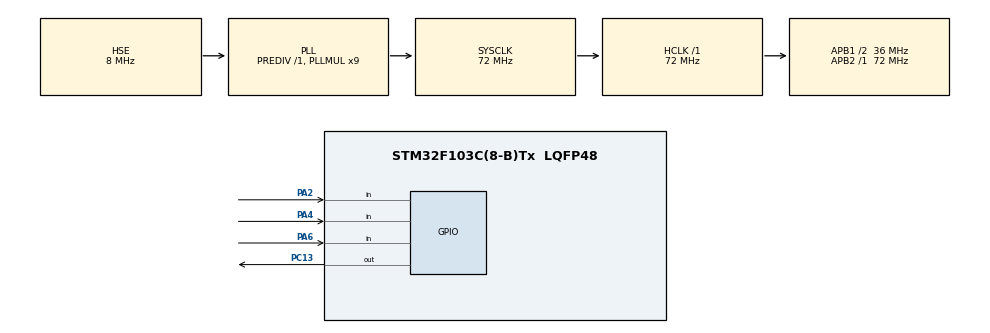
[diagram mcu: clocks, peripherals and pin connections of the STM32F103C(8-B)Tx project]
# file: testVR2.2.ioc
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Mcu.Family=STM32F1
Mcu.Name=STM32F103C(8-B)Tx
Mcu.Package=LQFP48
NVIC.PriorityGroup=NVIC_PRIORITYGROUP_4
NVIC.TIM2_IRQn=true\:5\:0\:true\:false\:true\:true\:true\:true
NVIC.TIM3_IRQn=true\:5\:0\:true\:false\:true\:true\:true\:true
NVIC.TIM4_IRQn=true\:5\:0\:true\:false\:true\:true\:true\:true
PA13.Mode=Serial_Wire
PA13.Signal=SYS_JTMS-SWDIO
PA14.Mode=Serial_Wire
PA14.Signal=SYS_JTCK-SWCLK
PA2.GPIO_PuPd=GPIO_PULLUP
PA2.Signal=GPIO_Input
PA4.GPIO_PuPd=GPIO_PULLUP
PA4.Signal=GPIO_Input
PA6.GPIO_PuPd=GPIO_PULLUP
PA6.Signal=GPIO_Input
PC13-TAMPER-RTC.GPIO_ModeDefaultOutputPP=GPIO_MODE_OUTPUT_OD
PC13-TAMPER-RTC.GPIO_PuPd=GPIO_PULLUP
PC13-TAMPER-RTC.Signal=GPIO_Output
PD0-OSC_IN.Mode=HSE-External-Oscillator
PD0-OSC_IN.Signal=RCC_OSC_IN
PD1-OSC_OUT.Mode=HSE-External-Oscillator
PD1-OSC_OUT.Signal=RCC_OSC_OUT
ProjectManager.HeapSize=0x200
ProjectManager.StackSize=0x400
ProjectManager.TargetToolchain=MDK-ARM V5.32
RCC.AHBFreq_Value=72000000
RCC.APB1CLKDivider=RCC_HCLK_DIV2
RCC.APB1Freq_Value=36000000
RCC.APB1TimFreq_Value=72000000
RCC.APB2Freq_Value=72000000
RCC.APB2TimFreq_Value=72000000
RCC.HCLKFreq_Value=72000000
RCC.PLLMUL=RCC_PLL_MUL9
RCC.PLLSourceVirtual=RCC_PLLSOURCE_HSE
RCC.SYSCLKFreq_VALUE=72000000
RCC.SYSCLKSource=RCC_SYSCLKSOURCE_PLLCLK
RCC.USBFreq_Value=72000000
TIM2.Period=9999
TIM2.Prescaler=7199
TIM3.Period=35999
TIM3.Prescaler=3999
TIM4.Period=7999
TIM4.Prescaler=35999
VP_TIM2_VS_ClockSourceINT.Mode=Internal
VP_TIM3_VS_ClockSourceINT.Mode=Internal
VP_TIM4_VS_ClockSourceINT.Mode=Internal
board=custom

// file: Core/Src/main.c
/* USER CODE BEGIN Header */
/**
  ******************************************************************************
  * @file           : main.c
  * @brief          : Main program body
  ******************************************************************************
  * @attention
  *
  * Copyright (c) 2025 STMicroelectronics.
  * All rights reserved.
  *
  * This software is licensed under terms that can be found in the LICENSE file
  * in the root directory of this software component.
  * If no LICENSE file comes with this software, it is provided AS-IS.
  *
  ******************************************************************************
  */
/* USER CODE END Header */
#include "main.h"

TIM_HandleTypeDef htim2;
TIM_HandleTypeDef htim3;
TIM_HandleTypeDef htim4;

/* USER CODE BEGIN PV */
int now=0;
/* USER CODE END PV */

void SystemClock_Config(void);
static void MX_GPIO_Init(void);
static void MX_TIM2_Init(void);
static void MX_TIM3_Init(void);
static void MX_TIM4_Init(void);

int main(void)
{

  /* MCU Configuration--------------------------------------------------------*/

  /* Reset of all peripherals, Initializes the Flash interface and the Systick. */
  HAL_Init();

  /* Configure the system clock */
  SystemClock_Config();

  /* Initialize all configured peripherals */
  MX_GPIO_Init();
  MX_TIM2_Init();
  MX_TIM3_Init();
  MX_TIM4_Init();

  /* Infinite loop */
  /* USER CODE BEGIN WHILE */
  while (1)
  {

			if(!HAL_GPIO_ReadPin(GPIOA,GPIO_PIN_2))
	    {
				HAL_Delay(20);
				if(!HAL_GPIO_ReadPin(GPIOA,GPIO_PIN_2))
				{
				now=2;
				}
				HAL_Delay(20);
			}
			if(!HAL_GPIO_ReadPin(GPIOA,GPIO_PIN_4))
	    {
				HAL_Delay(20);
				if(!HAL_GPIO_ReadPin(GPIOA,GPIO_PIN_4))
				{
				now=3;
				}
				HAL_Delay(20);
			}
			if(!HAL_GPIO_ReadPin(GPIOA,GPIO_PIN_6))
	    {
				HAL_Delay(20);
				if(!HAL_GPIO_ReadPin(GPIOA,GPIO_PIN_6))
				{
				now=4;
				}
				HAL_Delay(20);
			}
			if(now==2)
	    {
			HAL_GPIO_WritePin(GPIOC,GPIO_PIN_13,GPIO_PIN_RESET);
			HAL_Delay(100);
			HAL_GPIO_WritePin(GPIOC,GPIO_PIN_13,GPIO_PIN_SET);
			HAL_Delay(100);
			HAL_GPIO_WritePin(GPIOC,GPIO_PIN_13,GPIO_PIN_RESET);
			HAL_Delay(100);
			HAL_GPIO_WritePin(GPIOC,GPIO_PIN_13,GPIO_PIN_SET);
				__HAL_TIM_CLEAR_FLAG(&htim3, TIM_FLAG_UPDATE);
				__HAL_TIM_CLEAR_FLAG(&htim4, TIM_FLAG_UPDATE);
				HAL_TIM_Base_Stop_IT(&htim3);
				HAL_TIM_Base_Stop_IT(&htim4);
				HAL_TIM_Base_Start_IT(&htim2);
				now=1;
			}
			if(now==3)
	    {
			HAL_GPIO_WritePin(GPIOC,GPIO_PIN_13,GPIO_PIN_RESET);
			HAL_Delay(100);
			HAL_GPIO_WritePin(GPIOC,GPIO_PIN_13,GPIO_PIN_SET);
			HAL_Delay(100);
			HAL_GPIO_WritePin(GPIOC,GPIO_PIN_13,GPIO_PIN_RESET);
			HAL_Delay(100);
			HAL_GPIO_WritePin(GPIOC,GPIO_PIN_13,GPIO_PIN_SET);
				__HAL_TIM_CLEAR_FLAG(&htim2, TIM_FLAG_UPDATE);
				__HAL_TIM_CLEAR_FLAG(&htim4, TIM_FLAG_UPDATE);
				HAL_TIM_Base_Stop_IT(&htim2);
				HAL_TIM_Base_Stop_IT(&htim4);
				HAL_TIM_Base_Start_IT(&htim3);
				now=1;
			}
			if(now==4)
	    {
			HAL_GPIO_WritePin(GPIOC,GPIO_PIN_13,GPIO_PIN_RESET);
			HAL_Delay(100);
			HAL_GPIO_WritePin(GPIOC,GPIO_PIN_13,GPIO_PIN_SET);
			HAL_Delay(100);
			HAL_GPIO_WritePin(GPIOC,GPIO_PIN_13,GPIO_PIN_RESET);
			HAL_Delay(100);
			HAL_GPIO_WritePin(GPIOC,GPIO_PIN_13,GPIO_PIN_SET);
				__HAL_TIM_CLEAR_FLAG(&htim2, TIM_FLAG_UPDATE);
				__HAL_TIM_CLEAR_FLAG(&htim3, TIM_FLAG_UPDATE);
				HAL_TIM_Base_Stop_IT(&htim2);
				HAL_TIM_Base_Stop_IT(&htim3);
				HAL_TIM_Base_Start_IT(&htim4);
				now=1;
			}
			if(now==0)
			{
			HAL_GPIO_WritePin(GPIOC,GPIO_PIN_13,GPIO_PIN_SET);
			}
    /* USER CODE END WHILE */

	}
}

void SystemClock_Config(void)
{
  RCC_OscInitTypeDef RCC_OscInitStruct = {0};
  RCC_ClkInitTypeDef RCC_ClkInitStruct = {0};

  /** Initializes the RCC Oscillators according to the specified parameters
  * in the RCC_OscInitTypeDef structure.
  */
  RCC_OscInitStruct.OscillatorType = RCC_OSCILLATORTYPE_HSE;
  RCC_OscInitStruct.HSEState = RCC_HSE_ON;
  RCC_OscInitStruct.HSEPredivValue = RCC_HSE_PREDIV_DIV1;
  RCC_OscInitStruct.HSIState = RCC_HSI_ON;
  RCC_OscInitStruct.PLL.PLLState = RCC_PLL_ON;
  RCC_OscInitStruct.PLL.PLLSource = RCC_PLLSOURCE_HSE;
  RCC_OscInitStruct.PLL.PLLMUL = RCC_PLL_MUL9;
  if (HAL_RCC_OscConfig(&RCC_OscInitStruct) != HAL_OK)
  {
    Error_Handler();
  }

  /** Initializes the CPU, AHB and APB buses clocks
  */
  RCC_ClkInitStruct.ClockType = RCC_CLOCKTYPE_HCLK|RCC_CLOCKTYPE_SYSCLK
                              |RCC_CLOCKTYPE_PCLK1|RCC_CLOCKTYPE_PCLK2;
  RCC_ClkInitStruct.SYSCLKSource = RCC_SYSCLKSOURCE_PLLCLK;
  RCC_ClkInitStruct.AHBCLKDivider = RCC_SYSCLK_DIV1;
  RCC_ClkInitStruct.APB1CLKDivider = RCC_HCLK_DIV2;
  RCC_ClkInitStruct.APB2CLKDivider = RCC_HCLK_DIV1;

  if (HAL_RCC_ClockConfig(&RCC_ClkInitStruct, FLASH_LATENCY_2) != HAL_OK)
  {
    Error_Handler();
  }
}

static void MX_TIM2_Init(void)
{

  TIM_ClockConfigTypeDef sClockSourceConfig = {0};
  TIM_MasterConfigTypeDef sMasterConfig = {0};

  htim2.Instance = TIM2;
  htim2.Init.Prescaler = 7199;
  htim2.Init.CounterMode = TIM_COUNTERMODE_UP;
  htim2.Init.Period = 9999;
  htim2.Init.ClockDivision = TIM_CLOCKDIVISION_DIV1;
  htim2.Init.AutoReloadPreload = TIM_AUTORELOAD_PRELOAD_DISABLE;
  if (HAL_TIM_Base_Init(&htim2) != HAL_OK)
  {
    Error_Handler();
  }
  sClockSourceConfig.ClockSource = TIM_CLOCKSOURCE_INTERNAL;
  if (HAL_TIM_ConfigClockSource(&htim2, &sClockSourceConfig) != HAL_OK)
  {
    Error_Handler();
  }
  sMasterConfig.MasterOutputTrigger = TIM_TRGO_RESET;
  sMasterConfig.MasterSlaveMode = TIM_MASTERSLAVEMODE_DISABLE;
  if (HAL_TIMEx_MasterConfigSynchronization(&htim2, &sMasterConfig) != HAL_OK)
  {
    Error_Handler();
  }

}

static void MX_TIM3_Init(void)
{

  TIM_ClockConfigTypeDef sClockSourceConfig = {0};
  TIM_MasterConfigTypeDef sMasterConfig = {0};

  htim3.Instance = TIM3;
  htim3.Init.Prescaler = 3999;
  htim3.Init.CounterMode = TIM_COUNTERMODE_UP;
  htim3.Init.Period = 35999;
  htim3.Init.ClockDivision = TIM_CLOCKDIVISION_DIV1;
  htim3.Init.AutoReloadPreload = TIM_AUTORELOAD_PRELOAD_DISABLE;
  if (HAL_TIM_Base_Init(&htim3) != HAL_OK)
  {
    Error_Handler();
  }
  sClockSourceConfig.ClockSource = TIM_CLOCKSOURCE_INTERNAL;
  if (HAL_TIM_ConfigClockSource(&htim3, &sClockSourceConfig) != HAL_OK)
  {
    Error_Handler();
  }
  sMasterConfig.MasterOutputTrigger = TIM_TRGO_RESET;
  sMasterConfig.MasterSlaveMode = TIM_MASTERSLAVEMODE_DISABLE;
  if (HAL_TIMEx_MasterConfigSynchronization(&htim3, &sMasterConfig) != HAL_OK)
  {
    Error_Handler();
  }

}

static void MX_TIM4_Init(void)
{

  TIM_ClockConfigTypeDef sClockSourceConfig = {0};
  TIM_MasterConfigTypeDef sMasterConfig = {0};

  htim4.Instance = TIM4;
  htim4.Init.Prescaler = 35999;
  htim4.Init.CounterMode = TIM_COUNTERMODE_UP;
  htim4.Init.Period = 7999;
  htim4.Init.ClockDivision = TIM_CLOCKDIVISION_DIV1;
  htim4.Init.AutoReloadPreload = TIM_AUTORELOAD_PRELOAD_DISABLE;
  if (HAL_TIM_Base_Init(&htim4) != HAL_OK)
  {
    Error_Handler();
  }
  sClockSourceConfig.ClockSource = TIM_CLOCKSOURCE_INTERNAL;
  if (HAL_TIM_ConfigClockSource(&htim4, &sClockSourceConfig) != HAL_OK)
  {
    Error_Handler();
  }
  sMasterConfig.MasterOutputTrigger = TIM_TRGO_RESET;
  sMasterConfig.MasterSlaveMode = TIM_MASTERSLAVEMODE_DISABLE;
  if (HAL_TIMEx_MasterConfigSynchronization(&htim4, &sMasterConfig) != HAL_OK)
  {
    Error_Handler();
  }

}

static void MX_GPIO_Init(void)
{
  GPIO_InitTypeDef GPIO_InitStruct = {0};

  /* GPIO Ports Clock Enable */
  __HAL_RCC_GPIOC_CLK_ENABLE();
  __HAL_RCC_GPIOD_CLK_ENABLE();
  __HAL_RCC_GPIOA_CLK_ENABLE();

  /*Configure GPIO pin Output Level */
  HAL_GPIO_WritePin(GPIOC, GPIO_PIN_13, GPIO_PIN_RESET);

  /*Configure GPIO pin : PC13 */
  GPIO_InitStruct.Pin = GPIO_PIN_13;
  GPIO_InitStruct.Mode = GPIO_MODE_OUTPUT_OD;
  GPIO_InitStruct.Pull = GPIO_PULLUP;
  GPIO_InitStruct.Speed = GPIO_SPEED_FREQ_LOW;
  HAL_GPIO_Init(GPIOC, &GPIO_InitStruct);

  /*Configure GPIO pins : PA2 PA4 PA6 */
  GPIO_InitStruct.Pin = GPIO_PIN_2|GPIO_PIN_4|GPIO_PIN_6;
  GPIO_InitStruct.Mode = GPIO_MODE_INPUT;
  GPIO_InitStruct.Pull = GPIO_PULLUP;
  HAL_GPIO_Init(GPIOA, &GPIO_InitStruct);

}

/* USER CODE BEGIN 4 */
void HAL_TIM_PeriodElapsedCallback(TIM_HandleTypeDef *htim)
{
    if(htim->Instance == TIM2)
			{
        HAL_GPIO_TogglePin(GPIOC, GPIO_PIN_13);
			}
		if(htim->Instance == TIM3)
			{
        HAL_GPIO_TogglePin(GPIOC, GPIO_PIN_13);
      }
		if(htim->Instance == TIM4)
			{
        HAL_GPIO_TogglePin(GPIOC, GPIO_PIN_13);
			}
}
/* USER CODE END 4 */

void Error_Handler(void)
{
  __disable_irq();
  while (1)
  {
  }
}
